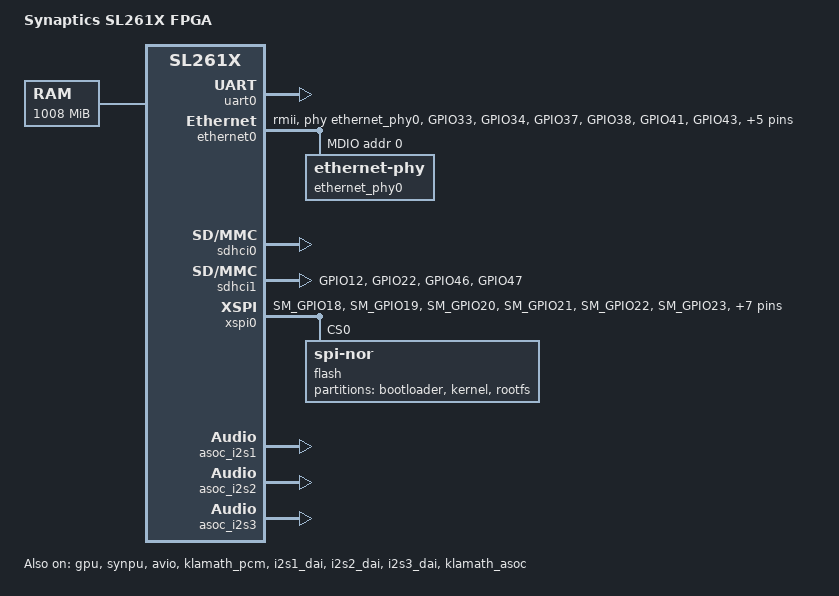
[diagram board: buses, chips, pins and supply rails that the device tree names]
// SPDX-License-Identifier: (GPL-2.0 OR MIT)
/*
 * Copyright (C) 2024 Synaptics Incorporated
 *
 * Author: Jisheng Zhang <jszhang@kernel.org>
 */

/dts-v1/;

#include <dt-bindings/gpio/gpio.h>

#include "sl2619.dtsi"

/ {
	model = "Synaptics SL261X FPGA";
	compatible = "syna,sl261x-fpga", "syna,sl261x";

	chosen {
		bootargs = "maxcpus=1 earlycon";
		stdout-path = "serial0:57600n8";
		linux,initrd-start = <0x08000000>;
		linux,initrd-end = <0x0805a9ec>;
	};

	memory {
		device_type = "memory";
		reg = <0 0x1000000 0 0x3f000000>;
	};

	reserved-memory {
		#address-cells = <2>;
		#size-cells = <2>;
		ranges;

		vdev0vring0: vdev0vring0@7f00000 {
			compatible = "shared-dma-pool";
			reg = <0 0x7f00000 0 0x8000>;
			no-map;
		};

		vdev0vring1: vdev0vring1@7f08000 {
			compatible = "shared-dma-pool";
			reg = <0 0x7f08000 0 0x8000>;
			no-map;
		};

		vdevbuffer: vdevbuffer {
			compatible = "shared-dma-pool";
			reg = <0 0x7f10000 0 0xf0000>;
			no-map;
		};
	};

	rpmsg {
		compatible = "syna,rpmsg";
		mbox-names = "rpmsg";
		mboxes = <&ipc 0>;
		syna,vdev-nums = <1>;
		reg = <0x0 0x7f00000 0x0 0x10000>;
		memory-region = <&vdevbuffer>;
	};
};

&pinctrl {
	mdio_pmux: mdio-pmux {
		groups = "GPIO31", "GPIO32";
		function = "rgmii";
	};

	eth0_pmux: eth0-pmux {
		groups = "GPIO33", "GPIO34", "GPIO37", "GPIO38", "GPIO41", "GPIO43", "GPIO45";
		function = "rmii1";
	};

	sd0_pmux: sd0-pmux {
		groups = "GPIO12", "GPIO22", "GPIO46", "GPIO47";
		function = "sdio1";
	};

	i2s1_pmux: i2s1-pmux {
		groups = "GPIO0", "GPIO1", "GPIO2", "GPIO3", "GPIO4";
		function = "i2s1";
	};

	i2s2_pmux: i2s2-pmux {
		groups = "GPIO5", "GPIO6", "GPIO7", "GPIO8", "GPIO11";
		function = "i2s2";
	};

	i2s3_pmux: i2s3-pmux {
		groups = "GPIO12", "GPIO13", "GPIO14", "GPIO15";
		function = "i2s3";
	};
};

&sm_pinctrl {
	eth_phy0_pmux: eth_phy0-pmux {
		groups = "SM_GPIO0";
		function = "gpio";
	};

	xspi0_pmux: xspi0-pmux {
		groups = "SM_GPIO18", "SM_GPIO19", "SM_GPIO20", "SM_GPIO21", "SM_GPIO22", "SM_GPIO23", "SM_GPIO24",
			 "SM_GPIO25","SM_GPIO26", "SM_GPIO27", "SM_GPIO28", "SM_GPIO29", "SM_GPIO30";
		function = "xspi";
	};
};

&uart0 {
	status = "okay";
};

&ethernet0 {
	status = "okay";
	pinctrl-0 = <&eth0_pmux>, <&mdio_pmux>, <&eth_phy0_pmux>;
	pinctrl-names = "default";
	phy-handle = <&ethernet_phy0>;
	phy-mode = "rmii";
	snps,clk-csr = <0>;
	snps,reset-gpio = <&portc 0 GPIO_ACTIVE_LOW>;
	snps,reset-delays-us = <0 10000 50000>;

	mdio {
		compatible = "snps,dwmac-mdio";
		#address-cells = <1>;
		#size-cells = <0>;

		ethernet_phy0: ethernet-phy@0 {
			reg = <0>;
			max-speed = <100>;
		};
	};
};

&ipc {
	status = "okay";
};

&sdhci0 {
	status = "okay";
	no-1-8-v;
};

&sdhci1 {
	status = "okay";
	pinctrl-0 = <&sd0_pmux>;
	pinctrl-names = "default";
	broken-cd;
	no-mmc;
	no-sdio;
	no-1-8-v;
};

&xspi0 {
	status = "okay";
	pinctrl-0 = <&xspi0_pmux>;
	pinctrl-names = "default";

	flash@0 {
		compatible = "jedec,spi-nor";
		reg = <0>;
		status = "okay";

		partitions {
			compatible = "fixed-partitions";
			#address-cells = <1>;
			#size-cells = <1>;

			partition@0 {
				label = "bootloader";
				reg = <0x00000000 0x00020000>; // 128KB
			};
			partition@10000 {
				label = "kernel";
				reg = <0x00020000 0x007E0000>; // 8064KB
			};
			partition@800000 {
				label = "rootfs";
				reg = <0x00800000 0x00800000>; // 8192KB
			};
		};
	};
};

&gpu {
	status = "okay";
};

&smmu {
	status = "okay";
};

&synpu {
	status = "okay";
};

&avio {
	status = "okay";
};

&klamath_pcm {
	status = "okay";
};

&i2s1_dai {
	status = "okay";
	pinctrl-0 = <&i2s1_pmux>;
	pinctrl-names = "default";
	clk_src = "APLL";
	clk_feed = "I2S1_DI";
	output-mclk;
};

&i2s2_dai {
	status = "okay";
	pinctrl-0 = <&i2s2_pmux>;
	pinctrl-names = "default";
	clk_src = "APLL";
	clk_feed = "I2S3_DI";
};

&i2s3_dai {
	status = "okay";
	pinctrl-0 = <&i2s3_pmux>;
	pinctrl-names = "default";
	clk_src = "APLL";
	clk_feed = "I2S3_DI";
};

&klamath_asoc {
	status = "okay";

	asoc_i2s1: asoc-i2s1 {
		status = "okay";
		stream-name = "asoc-i2s1";
		link-name = "asoc-i2s1";
		format = "i2s";
		cpu-node = <&i2s1_dai>;
		codec-name = "snd-soc-dummy";
		codec-dai-name = "snd-soc-dummy-dai";
		platform-node = <&klamath_pcm>;
	};

	asoc_i2s2: asoc-i2s2 {
		status = "okay";
		stream-name = "asoc-i2s2";
		link-name = "asoc-i2s2";
		format = "i2s";
		cpu-node = <&i2s2_dai>;
		codec-name = "snd-soc-dummy";
		codec-dai-name = "snd-soc-dummy-dai";
		platform-node = <&klamath_pcm>;
	};

	asoc_i2s3: asoc-i2s3 {
		status = "okay";
		stream-name = "asoc-i2s3";
		link-name = "asoc-i2s3";
		format = "i2s";
		cpu-node = <&i2s3_dai>;
		codec-name = "snd-soc-dummy";
		codec-dai-name = "snd-soc-dummy-dai";
		platform-node = <&klamath_pcm>;
	};
};
